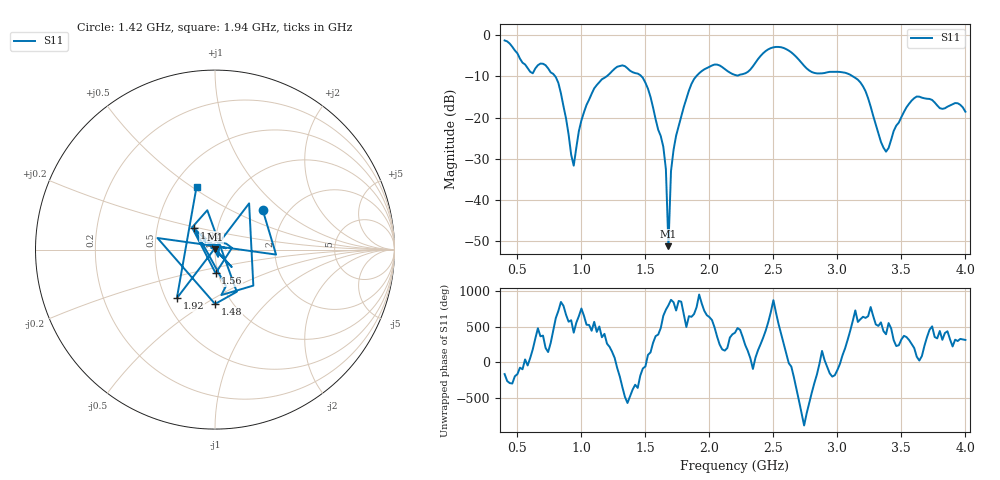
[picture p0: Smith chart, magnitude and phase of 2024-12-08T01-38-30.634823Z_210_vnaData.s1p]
!Created with skrf (http://scikit-rf.org).
# Hz S RI R 50.0
!freq ReS11 ImS11
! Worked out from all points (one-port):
!   181 points, 400 MHz to 4 GHz, reference 50 ohm
!   lowest |S11| = -51.2 dB at 1.68 GHz (marker M1), VSWR 1.01, Z = 50 + j0.272 ohm
!   |S11| at or under -10 dB: 795.1 MHz to 1.198 GHz (402.5 MHz wide, 40.4 % of centre); 1.469 GHz to 1.897 GHz (428.6 MHz wide, 25.5 % of centre); 3.12 GHz to end of sweep
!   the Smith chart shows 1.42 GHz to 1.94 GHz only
!   S11 on the Smith chart (normalised r, x): 1.42 GHz: 1.50, +0.75; 1.48 GHz: 0.83, -0.56; 1.56 GHz: 0.97, -0.26; 1.82 GHz: 0.77, +0.19; 1.92 GHz: 0.57, -0.35; 1.94 GHz: 0.65, +0.52
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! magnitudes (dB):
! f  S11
! 400 MHz  -1.3
! 600 MHz  -8.9
! 720 MHz  -7.3
! 820 MHz  -11.6
! 860 MHz  -17.3
! 940 MHz  -31.7
! 1 GHz  -20.7
! 1.08 GHz  -14.2
! 1.3 GHz  -7.5
! 1.42 GHz  -9.2
! 1.48 GHz  -10.4
! 1.56 GHz  -17.6
! 1.66 GHz  -32.5
! 1.68 GHz  -51.2
! 1.7 GHz  -33.0
! 1.76 GHz  -22.1
! 1.82 GHz  -15.4
! 1.92 GHz  -9.3
! 1.94 GHz  -8.7
! 2.2 GHz  -9.7
! 2.48 GHz  -3.2
! 2.66 GHz  -4.7
! 2.8 GHz  -9.0
! 3.1 GHz  -9.6
! 3.22 GHz  -13.6
! 3.38 GHz  -28.3
! 3.56 GHz  -16.7
! 4 GHz  -18.6
